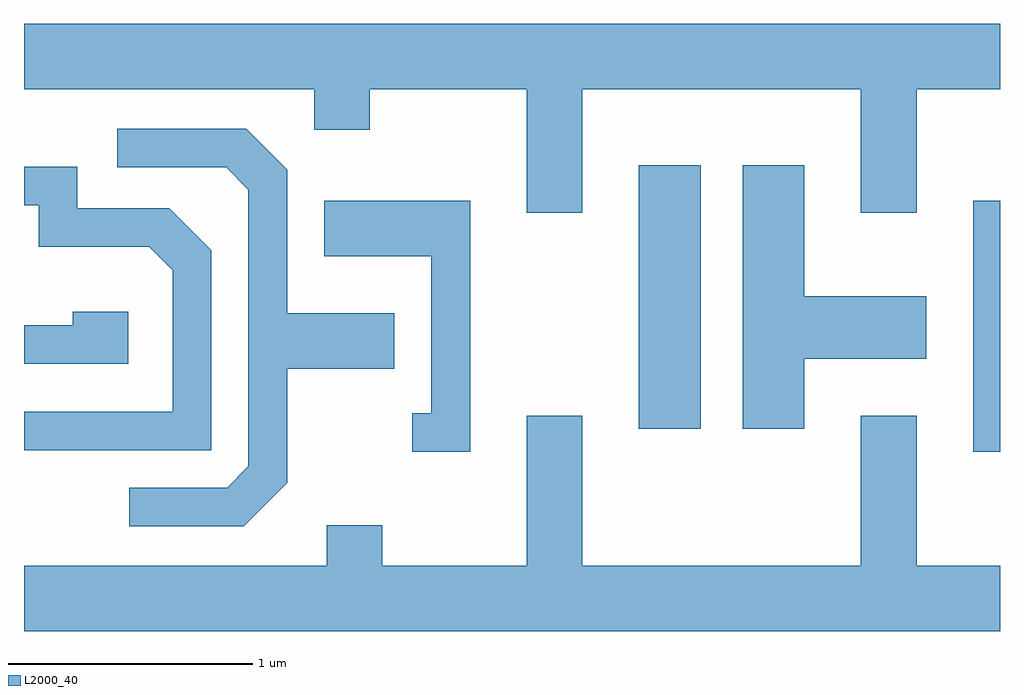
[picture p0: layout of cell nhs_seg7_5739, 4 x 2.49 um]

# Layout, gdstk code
import gdstk
lib = gdstk.Library(unit=1e-6, precision=1e-09)
def R(c, l, rs):  # rectangles x0, y0, x1, y1
    for r in rs: c.add(gdstk.rectangle(r[:2], r[2:], *l))
def P(c, l, *ps):  # polygons
    for p in ps: c.add(gdstk.Polygon(p, *l))
L2000_40 = (2000, 40)

nhs_seg7_5739 = lib.new_cell('nhs_seg7_5739')
R(nhs_seg7_5739, L2000_40, [(363.501,1803.851,363.611,1804.879), (362.131,1803.946,362.384,1805.024)])
P(nhs_seg7_5739, L2000_40, [(361.899,1805.336),(363.041,1805.336),(363.041,1804.831),(363.269,1804.831),(363.269,1805.336),(363.611,1805.336),(363.611,1805.604),(359.611,1805.604),(359.611,1805.336),(360.801,1805.336),(360.801,1805.171),(361.029,1805.171),(361.029,1805.336),(361.671,1805.336),(361.671,1804.831),(361.899,1804.831)],
  [(360.689,1803.724),(360.689,1804.191),(361.129,1804.191),(361.129,1804.419),(360.689,1804.419),(360.689,1805.007),(360.522,1805.174),(359.993,1805.174),(359.993,1805.016),(360.439,1805.016),(360.531,1804.924),(360.531,1803.792),(360.444,1803.704),(360.043,1803.704),(360.043,1803.546),(360.512,1803.546)],
  [(362.809,1804.231),(363.309,1804.231),(363.309,1804.489),(362.809,1804.489),(362.809,1805.024),(362.556,1805.024),(362.556,1803.946),(362.809,1803.946)],
  [(360.379,1804.677),(360.207,1804.849),(359.829,1804.849),(359.829,1805.019),(359.611,1805.019),(359.611,1804.861),(359.671,1804.861),(359.671,1804.691),(360.124,1804.691),(360.221,1804.594),(360.221,1804.014),(359.611,1804.014),(359.611,1803.856),(360.379,1803.856)],
  [(361.439,1804.879),(360.841,1804.879),(360.841,1804.651),(361.281,1804.651),(361.281,1804.009),(361.203,1804.009),(361.203,1803.851),(361.439,1803.851)],
  [(360.039,1804.424),(359.811,1804.424),(359.811,1804.369),(359.611,1804.369),(359.611,1804.211),(360.039,1804.211)],
  [(363.611,1803.384),(363.269,1803.384),(363.269,1803.999),(363.041,1803.999),(363.041,1803.384),(361.899,1803.384),(361.899,1803.999),(361.671,1803.999),(361.671,1803.384),(361.079,1803.384),(361.079,1803.549),(360.851,1803.549),(360.851,1803.384),(359.611,1803.384),(359.611,1803.116),(363.611,1803.116)])

lib.write_gds('nhs_seg7_5739.gds')
